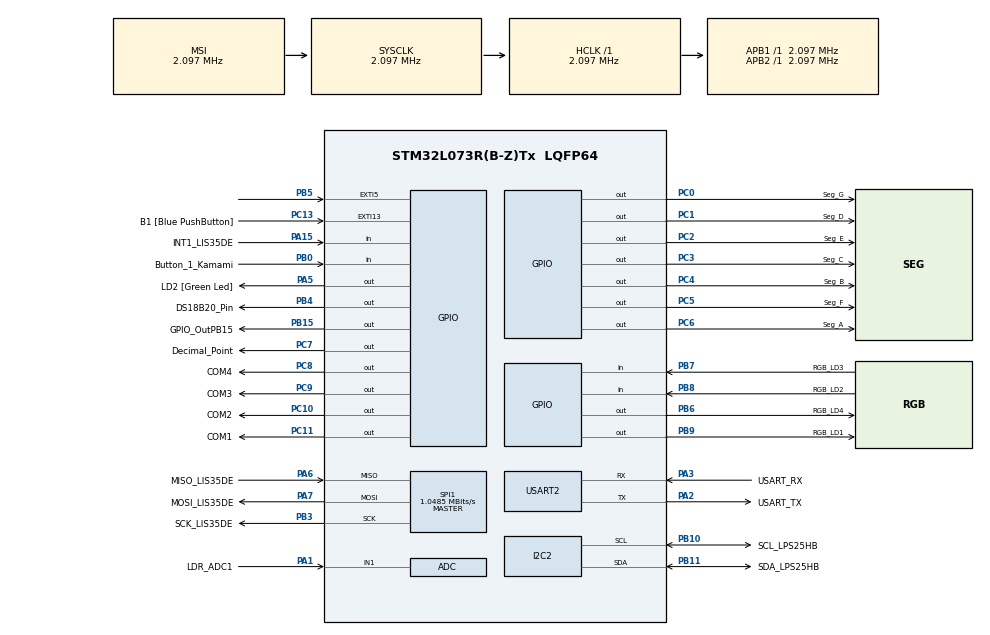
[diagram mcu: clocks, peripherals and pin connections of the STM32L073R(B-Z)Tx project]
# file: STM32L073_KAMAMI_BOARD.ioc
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Mcu.Family=STM32L0
Mcu.Name=STM32L073R(B-Z)Tx
Mcu.Package=LQFP64
NVIC.EXTI4_15_IRQn=true\:0\:0\:false\:false\:true\:true\:true\:true
PA1.GPIO_Label=LDR_ADC1
PA1.Mode=IN1
PA1.Signal=ADC_IN1
PA13.GPIO_Label=TMS
PA13.Mode=Serial_Wire
PA13.Signal=SYS_SWDIO
PA14.GPIO_Label=TCK
PA14.Mode=Serial_Wire
PA14.Signal=SYS_SWCLK
PA15.GPIO_Label=INT1_LIS35DE
PA15.Signal=GPIO_Input
PA2.GPIO_Label=USART_TX
PA2.Mode=Asynchronous
PA2.Signal=USART2_TX
PA3.GPIO_Label=USART_RX
PA3.Mode=Asynchronous
PA3.Signal=USART2_RX
PA5.GPIO_Label=LD2 [Green Led]
PA5.Signal=GPIO_Output
PA6.GPIO_Label=MISO_LIS35DE
PA6.Mode=Full_Duplex_Master
PA6.Signal=SPI1_MISO
PA7.GPIO_Label=MOSI_LIS35DE
PA7.Mode=Full_Duplex_Master
PA7.Signal=SPI1_MOSI
PB0.GPIO_Label=Button_1_Kamami
PB0.GPIO_PuPd=GPIO_PULLUP
PB0.Signal=GPIO_Input
PB10.GPIO_Label=SCL_LPS25HB
PB10.Mode=I2C
PB10.Signal=I2C2_SCL
PB11.GPIO_Label=SDA_LPS25HB
PB11.Mode=I2C
PB11.Signal=I2C2_SDA
PB15.GPIO_Label=GPIO_OutPB15
PB15.Signal=GPIO_Output
PB3.GPIO_Label=SCK_LIS35DE
PB3.Mode=Full_Duplex_Master
PB3.Signal=SPI1_SCK
PB4.GPIO_Label=DS18B20_Pin
PB4.Signal=GPIO_Output
PB5.GPIO_PuPd=GPIO_PULLUP
PB5.Signal=GPXTI5
PB6.GPIO_Label=RGB_LD4
PB6.Signal=GPIO_Output
PB7.GPIO_Label=RGB_LD3
PB7.Signal=GPIO_Input
PB8.GPIO_Label=RGB_LD2
PB8.Signal=GPIO_Input
PB9.GPIO_Label=RGB_LD1
PB9.Signal=GPIO_Output
PC0.GPIO_Label=Seg_G
PC0.Signal=GPIO_Output
PC1.GPIO_Label=Seg_D
PC1.Signal=GPIO_Output
PC10.GPIO_Label=COM2
PC10.Signal=GPIO_Output
PC11.GPIO_Label=COM1
PC11.Signal=GPIO_Output
PC13.GPIO_Label=B1 [Blue PushButton]
PC13.GPIO_ModeDefaultEXTI=GPIO_MODE_IT_FALLING
PC13.Signal=GPXTI13
PC14-OSC32_IN.Mode=LSE-External-Oscillator
PC14-OSC32_IN.Signal=RCC_OSC32_IN
PC15-OSC32_OUT.Mode=LSE-External-Oscillator
PC15-OSC32_OUT.Signal=RCC_OSC32_OUT
PC2.GPIO_Label=Seg_E
PC2.Signal=GPIO_Output
PC3.GPIO_Label=Seg_C
PC3.Signal=GPIO_Output
PC4.GPIO_Label=Seg_B
PC4.Signal=GPIO_Output
PC5.GPIO_Label=Seg_F
PC5.Signal=GPIO_Output
PC6.GPIO_Label=Seg_A
PC6.Signal=GPIO_Output
PC7.GPIO_Label=Decimal_Point
PC7.Signal=GPIO_Output
PC8.GPIO_Label=COM4
PC8.Signal=GPIO_Output
PC9.GPIO_Label=COM3
PC9.Signal=GPIO_Output
PH0-OSC_IN.GPIO_Label=MCO
PH0-OSC_IN.Mode=HSE-External-Clock-Source
PH0-OSC_IN.Signal=RCC_OSC_IN
ProjectManager.HeapSize=0x200
ProjectManager.StackSize=0x400
ProjectManager.TargetToolchain=MDK-ARM V5.32
RCC.AHBFreq_Value=2097000
RCC.APB1Freq_Value=2097000
RCC.APB1TimFreq_Value=2097000
RCC.APB2Freq_Value=2097000
RCC.APB2TimFreq_Value=2097000
RCC.HSE_VALUE=8000000
RCC.HSI16_VALUE=16000000
RCC.HSI48_VALUE=48000000
RCC.HSI_VALUE=16000000
RCC.MSI_VALUE=2097000
RCC.SYSCLKFreq_VALUE=2097000
RCC.VCOOutputFreq_Value=48000000
SPI1.CalculateBaudRate=1.0485 MBits/s
SPI1.Direction=SPI_DIRECTION_2LINES
SPI1.Mode=SPI_MODE_MASTER
SPI1.VirtualType=VM_MASTER
USART2.VirtualMode-Asynchronous=VM_ASYNC
board=NUCLEO-L073RZ

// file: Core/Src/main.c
/* USER CODE BEGIN Header */
/**
  ******************************************************************************
  * @file           : main.c
  * @brief          : Main program body
  ******************************************************************************
  * @attention
  *
  * Copyright (c) 2022 STMicroelectronics.
  * All rights reserved.
  *
  * This software is licensed under terms that can be found in the LICENSE file
  * in the root directory of this software component.
  * If no LICENSE file comes with this software, it is provided AS-IS.
  *
  ******************************************************************************
  */
/* USER CODE END Header */
#include "main.h"

/* USER CODE BEGIN Includes */
#include "mano.h"

/* USER CODE END Includes */

ADC_HandleTypeDef hadc;

I2C_HandleTypeDef hi2c2;

SPI_HandleTypeDef hspi1;

UART_HandleTypeDef huart2;

void SystemClock_Config(void);
static void MX_GPIO_Init(void);
static void MX_ADC_Init(void);
static void MX_I2C2_Init(void);
static void MX_SPI1_Init(void);
static void MX_USART2_UART_Init(void);

/* USER CODE BEGIN 0 */
int counter;

typedef enum {STATUS_READY, STATUS_WAIT} TStatus;
TStatus Status=STATUS_WAIT;

void HAL_GPIO_EXTI_Callback(uint16_t GPIO_Pin)
{
  /* Prevent unused argument(s) compilation warning */
  UNUSED(GPIO_Pin);

	if (GPIO_Pin==GPIO_PIN_5)
	{
		if (Status==STATUS_WAIT)
			Status=STATUS_READY;
		else
			Status=STATUS_WAIT;
	}

  /* NOTE: This function Should not be modified, when the callback is needed,
           the HAL_GPIO_EXTI_Callback could be implemented in the user file
   */
}

// Discrete sequence generation
int DutyCycle[SEQUENCE_LEN]={20,30,40,50,60}; //impulsais
int tick=0;

void DiscreteSequence(void)
{
	static unsigned char PeriodNo=0;

	tick++;  // padidinti impulsu (milisekundžiu) skaitikli

	if (tick==PERIOD-1)
	{	GPIOOn();
		tick=0;

		if (PeriodNo==SEQUENCE_LEN-1)
		   PeriodNo=0;
		else
			PeriodNo++;
	}
	else if (tick==DutyCycle[PeriodNo]-1)
		  GPIOOff();

}

/*
 Skaitmens "3" atvaizdavimas pirmame simbolyje */
void DisplayDigit(void)
{
	GPIOC->ODR=(Aseg|Bseg|Cseg|Dseg|Gseg)|((COM4)<<8);
}
/*
 Skaitmens "1" atvaizdavimas antrame simbolyje */
void DisplayDigit2(void)
{
	GPIOC->ODR=(Bseg|Cseg)|((COM3)<<8);
}
/* USER CODE END 0 */

int main(void)
{

  /* MCU Configuration--------------------------------------------------------*/

  /* Reset of all peripherals, Initializes the Flash interface and the Systick. */
  HAL_Init();

  /* Configure the system clock */
  SystemClock_Config();

  /* Initialize all configured peripherals */
  MX_GPIO_Init();
  MX_ADC_Init();
  MX_I2C2_Init();
  MX_SPI1_Init();
  MX_USART2_UART_Init();
  /* USER CODE BEGIN 2 */
  HAL_GPIO_WritePin(RGB_LD4_GPIO_Port,RGB_LD4_Pin,GPIO_PIN_RESET); // LED katodo prijungimas prie žemes
  /* USER CODE END 2 */

  /* Infinite loop */
  /* USER CODE BEGIN WHILE */
	//DisplayDigit();
  while (1)
  {
    /* USER CODE END WHILE */

    /* USER CODE BEGIN 3 */
	if (counter ==1000)
	{

		if ((HAL_GPIO_ReadPin(Button_1_Kamami_GPIO_Port, Button_1_Kamami_Pin)==GPIO_PIN_SET))
    {
		 HAL_GPIO_TogglePin(RGB_LD1_GPIO_Port,RGB_LD1_Pin); // LED katodo valdymas
		                               // parametru pavadinimai iš CubeMx sugeneruoto failo main.h
	   	}

//		if (Status==STATUS_READY)
 //  {
//		 HAL_GPIO_TogglePin(RGB_LD1_GPIO_Port,RGB_LD1_Pin); // LED katodo valdymas
		                               // parametru pavadinimai iš CubeMx sugeneruoto failo main.h
//	  }

			counter =0;
	}

  }
  /* USER CODE END 3 */
}

void SystemClock_Config(void)
{
  RCC_OscInitTypeDef RCC_OscInitStruct = {0};
  RCC_ClkInitTypeDef RCC_ClkInitStruct = {0};
  RCC_PeriphCLKInitTypeDef PeriphClkInit = {0};

  /** Configure the main internal regulator output voltage
  */
  __HAL_PWR_VOLTAGESCALING_CONFIG(PWR_REGULATOR_VOLTAGE_SCALE1);

  /** Initializes the RCC Oscillators according to the specified parameters
  * in the RCC_OscInitTypeDef structure.
  */
  RCC_OscInitStruct.OscillatorType = RCC_OSCILLATORTYPE_MSI;
  RCC_OscInitStruct.MSIState = RCC_MSI_ON;
  RCC_OscInitStruct.MSICalibrationValue = 0;
  RCC_OscInitStruct.MSIClockRange = RCC_MSIRANGE_5;
  RCC_OscInitStruct.PLL.PLLState = RCC_PLL_NONE;
  if (HAL_RCC_OscConfig(&RCC_OscInitStruct) != HAL_OK)
  {
    Error_Handler();
  }

  /** Initializes the CPU, AHB and APB buses clocks
  */
  RCC_ClkInitStruct.ClockType = RCC_CLOCKTYPE_HCLK|RCC_CLOCKTYPE_SYSCLK
                              |RCC_CLOCKTYPE_PCLK1|RCC_CLOCKTYPE_PCLK2;
  RCC_ClkInitStruct.SYSCLKSource = RCC_SYSCLKSOURCE_MSI;
  RCC_ClkInitStruct.AHBCLKDivider = RCC_SYSCLK_DIV1;
  RCC_ClkInitStruct.APB1CLKDivider = RCC_HCLK_DIV1;
  RCC_ClkInitStruct.APB2CLKDivider = RCC_HCLK_DIV1;

  if (HAL_RCC_ClockConfig(&RCC_ClkInitStruct, FLASH_LATENCY_0) != HAL_OK)
  {
    Error_Handler();
  }
  PeriphClkInit.PeriphClockSelection = RCC_PERIPHCLK_USART2;
  PeriphClkInit.Usart2ClockSelection = RCC_USART2CLKSOURCE_PCLK1;
  if (HAL_RCCEx_PeriphCLKConfig(&PeriphClkInit) != HAL_OK)
  {
    Error_Handler();
  }
}

static void MX_ADC_Init(void)
{

  ADC_ChannelConfTypeDef sConfig = {0};

  /** Configure the global features of the ADC (Clock, Resolution, Data Alignment and number of conversion)
  */
  hadc.Instance = ADC1;
  hadc.Init.OversamplingMode = DISABLE;
  hadc.Init.ClockPrescaler = ADC_CLOCK_SYNC_PCLK_DIV1;
  hadc.Init.Resolution = ADC_RESOLUTION_12B;
  hadc.Init.SamplingTime = ADC_SAMPLETIME_1CYCLE_5;
  hadc.Init.ScanConvMode = ADC_SCAN_DIRECTION_FORWARD;
  hadc.Init.DataAlign = ADC_DATAALIGN_RIGHT;
  hadc.Init.ContinuousConvMode = DISABLE;
  hadc.Init.DiscontinuousConvMode = DISABLE;
  hadc.Init.ExternalTrigConvEdge = ADC_EXTERNALTRIGCONVEDGE_NONE;
  hadc.Init.ExternalTrigConv = ADC_SOFTWARE_START;
  hadc.Init.DMAContinuousRequests = DISABLE;
  hadc.Init.EOCSelection = ADC_EOC_SINGLE_CONV;
  hadc.Init.Overrun = ADC_OVR_DATA_PRESERVED;
  hadc.Init.LowPowerAutoWait = DISABLE;
  hadc.Init.LowPowerFrequencyMode = ENABLE;
  hadc.Init.LowPowerAutoPowerOff = DISABLE;
  if (HAL_ADC_Init(&hadc) != HAL_OK)
  {
    Error_Handler();
  }

  /** Configure for the selected ADC regular channel to be converted.
  */
  sConfig.Channel = ADC_CHANNEL_1;
  sConfig.Rank = ADC_RANK_CHANNEL_NUMBER;
  if (HAL_ADC_ConfigChannel(&hadc, &sConfig) != HAL_OK)
  {
    Error_Handler();
  }

}

static void MX_I2C2_Init(void)
{

  hi2c2.Instance = I2C2;
  hi2c2.Init.Timing = 0x00000708;
  hi2c2.Init.OwnAddress1 = 0;
  hi2c2.Init.AddressingMode = I2C_ADDRESSINGMODE_7BIT;
  hi2c2.Init.DualAddressMode = I2C_DUALADDRESS_DISABLE;
  hi2c2.Init.OwnAddress2 = 0;
  hi2c2.Init.OwnAddress2Masks = I2C_OA2_NOMASK;
  hi2c2.Init.GeneralCallMode = I2C_GENERALCALL_DISABLE;
  hi2c2.Init.NoStretchMode = I2C_NOSTRETCH_DISABLE;
  if (HAL_I2C_Init(&hi2c2) != HAL_OK)
  {
    Error_Handler();
  }

  /** Configure Analogue filter
  */
  if (HAL_I2CEx_ConfigAnalogFilter(&hi2c2, I2C_ANALOGFILTER_ENABLE) != HAL_OK)
  {
    Error_Handler();
  }

  /** Configure Digital filter
  */
  if (HAL_I2CEx_ConfigDigitalFilter(&hi2c2, 0) != HAL_OK)
  {
    Error_Handler();
  }

}

static void MX_SPI1_Init(void)
{

  /* SPI1 parameter configuration*/
  hspi1.Instance = SPI1;
  hspi1.Init.Mode = SPI_MODE_MASTER;
  hspi1.Init.Direction = SPI_DIRECTION_2LINES;
  hspi1.Init.DataSize = SPI_DATASIZE_8BIT;
  hspi1.Init.CLKPolarity = SPI_POLARITY_LOW;
  hspi1.Init.CLKPhase = SPI_PHASE_1EDGE;
  hspi1.Init.NSS = SPI_NSS_SOFT;
  hspi1.Init.BaudRatePrescaler = SPI_BAUDRATEPRESCALER_2;
  hspi1.Init.FirstBit = SPI_FIRSTBIT_MSB;
  hspi1.Init.TIMode = SPI_TIMODE_DISABLE;
  hspi1.Init.CRCCalculation = SPI_CRCCALCULATION_DISABLE;
  hspi1.Init.CRCPolynomial = 7;
  if (HAL_SPI_Init(&hspi1) != HAL_OK)
  {
    Error_Handler();
  }

}

static void MX_USART2_UART_Init(void)
{

  huart2.Instance = USART2;
  huart2.Init.BaudRate = 115200;
  huart2.Init.WordLength = UART_WORDLENGTH_8B;
  huart2.Init.StopBits = UART_STOPBITS_1;
  huart2.Init.Parity = UART_PARITY_NONE;
  huart2.Init.Mode = UART_MODE_TX_RX;
  huart2.Init.HwFlowCtl = UART_HWCONTROL_NONE;
  huart2.Init.OverSampling = UART_OVERSAMPLING_16;
  huart2.Init.OneBitSampling = UART_ONE_BIT_SAMPLE_DISABLE;
  huart2.AdvancedInit.AdvFeatureInit = UART_ADVFEATURE_NO_INIT;
  if (HAL_UART_Init(&huart2) != HAL_OK)
  {
    Error_Handler();
  }

}

static void MX_GPIO_Init(void)
{
  GPIO_InitTypeDef GPIO_InitStruct = {0};

  /* GPIO Ports Clock Enable */
  __HAL_RCC_GPIOC_CLK_ENABLE();
  __HAL_RCC_GPIOH_CLK_ENABLE();
  __HAL_RCC_GPIOA_CLK_ENABLE();
  __HAL_RCC_GPIOB_CLK_ENABLE();

  /*Configure GPIO pin Output Level */
  HAL_GPIO_WritePin(GPIOC, Seg_G_Pin|Seg_D_Pin|Seg_E_Pin|Seg_C_Pin
                          |Seg_B_Pin|Seg_F_Pin|Seg_A_Pin|Decimal_Point_Pin
                          |COM4_Pin|COM3_Pin|COM2_Pin|COM1_Pin, GPIO_PIN_RESET);

  /*Configure GPIO pin Output Level */
  HAL_GPIO_WritePin(LD2_GPIO_Port, LD2_Pin, GPIO_PIN_RESET);

  /*Configure GPIO pin Output Level */
  HAL_GPIO_WritePin(GPIOB, GPIO_OutPB15_Pin|DS18B20_Pin_Pin|RGB_LD4_Pin|RGB_LD1_Pin, GPIO_PIN_RESET);

  /*Configure GPIO pin : B1_Pin */
  GPIO_InitStruct.Pin = B1_Pin;
  GPIO_InitStruct.Mode = GPIO_MODE_IT_FALLING;
  GPIO_InitStruct.Pull = GPIO_NOPULL;
  HAL_GPIO_Init(B1_GPIO_Port, &GPIO_InitStruct);

  /*Configure GPIO pins : Seg_G_Pin Seg_D_Pin Seg_E_Pin Seg_C_Pin
                           Seg_B_Pin Seg_F_Pin Seg_A_Pin Decimal_Point_Pin
                           COM4_Pin COM3_Pin COM2_Pin COM1_Pin */
  GPIO_InitStruct.Pin = Seg_G_Pin|Seg_D_Pin|Seg_E_Pin|Seg_C_Pin
                          |Seg_B_Pin|Seg_F_Pin|Seg_A_Pin|Decimal_Point_Pin
                          |COM4_Pin|COM3_Pin|COM2_Pin|COM1_Pin;
  GPIO_InitStruct.Mode = GPIO_MODE_OUTPUT_PP;
  GPIO_InitStruct.Pull = GPIO_NOPULL;
  GPIO_InitStruct.Speed = GPIO_SPEED_FREQ_LOW;
  HAL_GPIO_Init(GPIOC, &GPIO_InitStruct);

  /*Configure GPIO pin : LD2_Pin */
  GPIO_InitStruct.Pin = LD2_Pin;
  GPIO_InitStruct.Mode = GPIO_MODE_OUTPUT_PP;
  GPIO_InitStruct.Pull = GPIO_NOPULL;
  GPIO_InitStruct.Speed = GPIO_SPEED_FREQ_LOW;
  HAL_GPIO_Init(LD2_GPIO_Port, &GPIO_InitStruct);

  /*Configure GPIO pin : Button_1_Kamami_Pin */
  GPIO_InitStruct.Pin = Button_1_Kamami_Pin;
  GPIO_InitStruct.Mode = GPIO_MODE_INPUT;
  GPIO_InitStruct.Pull = GPIO_PULLUP;
  HAL_GPIO_Init(Button_1_Kamami_GPIO_Port, &GPIO_InitStruct);

  /*Configure GPIO pins : GPIO_OutPB15_Pin DS18B20_Pin_Pin RGB_LD4_Pin RGB_LD1_Pin */
  GPIO_InitStruct.Pin = GPIO_OutPB15_Pin|DS18B20_Pin_Pin|RGB_LD4_Pin|RGB_LD1_Pin;
  GPIO_InitStruct.Mode = GPIO_MODE_OUTPUT_PP;
  GPIO_InitStruct.Pull = GPIO_NOPULL;
  GPIO_InitStruct.Speed = GPIO_SPEED_FREQ_LOW;
  HAL_GPIO_Init(GPIOB, &GPIO_InitStruct);

  /*Configure GPIO pin : INT1_LIS35DE_Pin */
  GPIO_InitStruct.Pin = INT1_LIS35DE_Pin;
  GPIO_InitStruct.Mode = GPIO_MODE_INPUT;
  GPIO_InitStruct.Pull = GPIO_NOPULL;
  HAL_GPIO_Init(INT1_LIS35DE_GPIO_Port, &GPIO_InitStruct);

  /*Configure GPIO pin : PB5 */
  GPIO_InitStruct.Pin = GPIO_PIN_5;
  GPIO_InitStruct.Mode = GPIO_MODE_IT_RISING;
  GPIO_InitStruct.Pull = GPIO_PULLUP;
  HAL_GPIO_Init(GPIOB, &GPIO_InitStruct);

  /*Configure GPIO pins : PB7 PB8 */
  GPIO_InitStruct.Pin = GPIO_PIN_7|GPIO_PIN_8;
  GPIO_InitStruct.Mode = GPIO_MODE_INPUT;
  GPIO_InitStruct.Pull = GPIO_NOPULL;
  HAL_GPIO_Init(GPIOB, &GPIO_InitStruct);

  /* EXTI interrupt init*/
  HAL_NVIC_SetPriority(EXTI4_15_IRQn, 0, 0);
  HAL_NVIC_EnableIRQ(EXTI4_15_IRQn);

}

void Error_Handler(void)
{
  __disable_irq();
  while (1)
  {
  }
}
